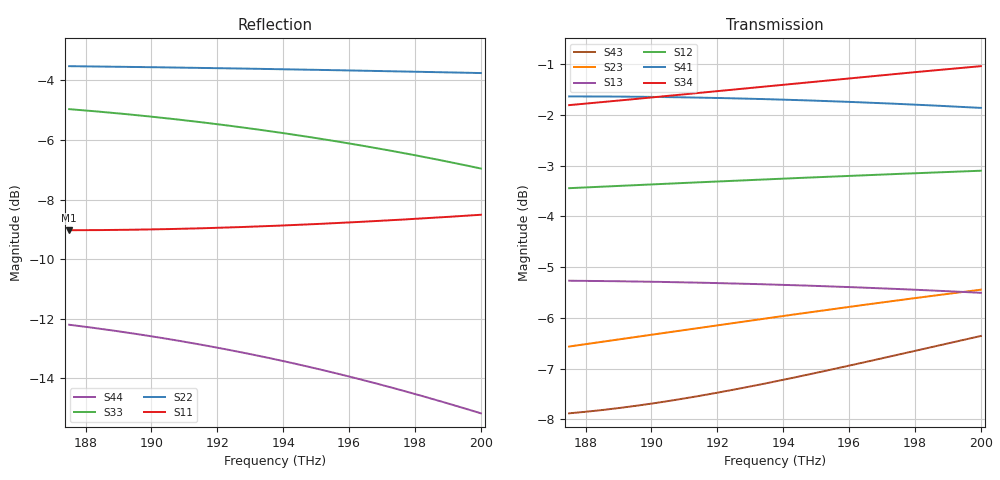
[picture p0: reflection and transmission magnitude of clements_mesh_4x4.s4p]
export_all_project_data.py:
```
"""
Export All Simulation & Hardware Datasets for Future Photonic Projects
======================================================================
Consolidates and exports all FDE, INTERCONNECT, Touchstone (.s4p),
Clements compiler, and MNIST neural benchmark data into an offline archive.
"""

import os
import shutil
import json
import numpy as np

export_dir = os.path.abspath('EXPORTED_PROJECT_DATA')
os.makedirs(export_dir, exist_ok=True)

# 1. Generate Touchstone .s4p File (Standard Industry Format for 4-Port RF/Photonic S-parameters)
print("1. Generating 4-Port Touchstone S-parameter file (.s4p)...")
from step5_interconnect_circuit import simulate_optical_circuit, load_hardware_and_layer

hw_db, compiled_layer = load_hardware_and_layer()
wavelengths, S_matrix_lambda, _ = simulate_optical_circuit(hw_db, compiled_layer)

freqs_Hz = 3e8 / wavelengths
# Sort frequencies in ascending order (Touchstone requirement)
sort_idx = np.argsort(freqs_Hz)
freqs_sorted = freqs_Hz[sort_idx]
S_sorted = S_matrix_lambda[sort_idx]

s4p_path = os.path.join(export_dir, 'clements_mesh_4x4.s4p')
with open(s4p_path, 'w') as f:
    f.write("! 4-Channel Clements Photonic Neural Network Unitary Mesh\n")
    f.write("! Platform: 220nm SOI Silicon Photonics, Center Wavelength: 1550 nm\n")
    f.write("! Format: Frequency (Hz), S-parameters: Magnitude / Angle (Degrees)\n")
    f.write("# HZ S MA R 50\n")
    
    for f_val, S_mat in zip(freqs_sorted, S_sorted):
        # Format: f S11 S12 S13 S14 \n S21 S22 S23 S24 \n S31 S32 S33 S34 \n S41 S42 S43 S44
        f.write(f"{f_val:.6e} ")
        for i in range(4):
            if i > 0:
                f.write("                 ")
            for j in range(4):
                val = S_mat[i, j]
                mag = np.abs(val)
                ang = np.degrees(np.angle(val))
                f.write(f" {mag:.6f} {ang:.2f}")
            f.write("\n")

print(f"   [OK] Touchstone file generated: {s4p_path}")

# Also copy into C:\CSE\quantum
shutil.copy(s4p_path, 'clements_mesh_4x4.s4p')

# 2. Copy all project databases and models into EXPORTED_PROJECT_DATA
files_to_export = [
    'hardware_database.json',
    'hardware_specs.json',
    'coupler_gap_sweep.csv',
    'waveguide_dispersion_sweep.csv',
    'compiled_optical_layer.json',
    'clements_mesh_4x4.icp',
    'build_interconnect_mesh.lsf',
    'interconnect_sparams.json',
    'mnist_benchmark_results.json',
    'interconnect_simulation_results.png',
    'mnist_photonic_benchmark.png',
    'single_waveguide_500x220.lms',
    'directional_coupler_50_50.lms',
    'raw_fde_waveguide_fields.npz',
    'raw_coupler_supermode_fields.npz',
    'step1_hardware_sweeps.py',
    'step2_clements_compiler.py',
    'step3_photonic_neural_network.py',
    'step4_generate_visualizations.py',
    'step5_interconnect_circuit.py',
    'step6_mnist_photonic_benchmark.py',
    'step7_thermal_crosstalk_mitigation.py',
    'thermal_crosstalk_benchmark_results.json'
]

print("\n2. Archiving all core project files into EXPORTED_PROJECT_DATA...")
manifest = []
for fname in files_to_export:
    if os.path.exists(fname):
        dest = os.path.join(export_dir, fname)
        shutil.copy(fname, dest)
        size_kb = os.path.getsize(dest) / 1024.0
        manifest.append({"file": fname, "size_KB": round(size_kb, 1)})
        print(f"   [COPIED] {fname} ({size_kb:.1f} KB)")
    else:
        print(f"   [MISSING] {fname}")

with open(os.path.join(export_dir, 'export_manifest.json'), 'w') as f:
    json.dump(manifest, f, indent=4)

print(f"\n[COMPLETE] All {len(manifest)} project datasets securely archived in:")
print(f"           {export_dir}")
```
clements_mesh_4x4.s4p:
! 4-Channel Clements Photonic Neural Network Unitary Mesh
! Platform: 220nm SOI Silicon Photonics, Center Wavelength: 1550 nm
! Format: Frequency (Hz), S-parameters: Magnitude / Angle (Degrees)
# HZ S MA R 50
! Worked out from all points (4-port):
!   300 points, 187.5 THz to 200 THz, reference 50 ohm
!   strongest paths, dB at 187.5 THz, 190.5 THz, 193.6 THz, 196.8 THz, 200 THz:
!     S34: -1.8, -1.6, -1.4, -1.2, -1.0
!     S41: -1.6, -1.6, -1.7, -1.8, -1.9
!     S12: -3.4, -3.4, -3.3, -3.2, -3.1
!     S13: -5.3, -5.3, -5.3, -5.4, -5.5
!     S23: -6.6, -6.3, -6.0, -5.7, -5.4
!     S43: -7.9, -7.6, -7.3, -6.8, -6.4
!   lowest |S11| = -9.0 dB at 187.5 THz (marker M1), VSWR 2.09, Z = 52.5 - j38.7 ohm
!   |S11| at or under -10 dB: nowhere
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1.875e14  0.3536 -65.6  0.6728 58.5  0.5454 -161.3  0.3535 16.4
          0.4237 43.0  0.6669 46.3  0.4697 21.4  0.3939 -149.1
          0.09595 170.2  0.1099 41.5  0.5648 41.4  0.8122 52.2
          0.8284 142.6  0.301 17.9  0.4037 -104.2  0.2453 116.3
1.934023e14  0.359 -68.9  0.6862 68.2  0.541 -143.2  0.3281 36.7
             0.4316 48.5  0.6599 61.4  0.5003 47.5  0.3578 -126.7
             0.08217 145.0  0.07106 42.2  0.5204 54.6  0.847 63.2
             0.8234 144.3  0.2979 31.2  0.4316 -76.8  0.2166 134.1
2e14  0.3753 -71.2  0.6999 79.5  0.5306 -122.6  0.2961 59.5
      0.445 55.6  0.6494 78.1  0.5344 76.3  0.3078 -100.9
      0.09792 120.6  0.04131 27.5  0.4488 67.6  0.8873 75.5
      0.8071 146.1  0.2945 47.1  0.4811 -49.8  0.1741 159.3
